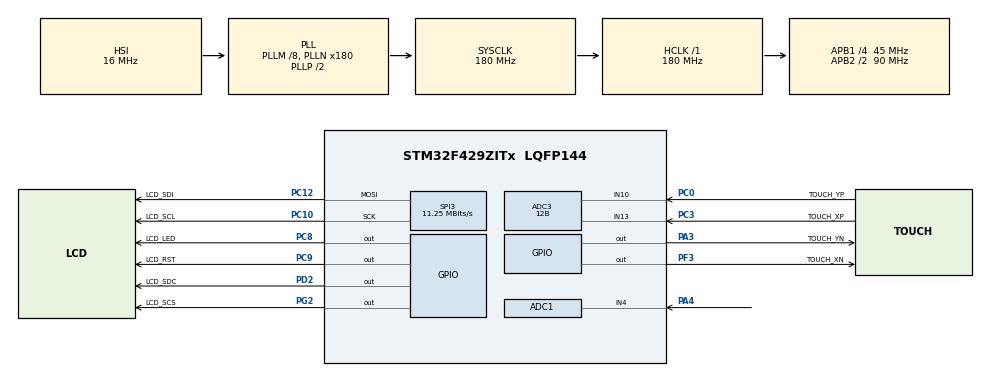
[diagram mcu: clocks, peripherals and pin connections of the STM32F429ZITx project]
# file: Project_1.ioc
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ADC1.Channel-0\#ChannelRegularConversion=ADC_CHANNEL_4
ADC1.ClockPrescaler=ADC_CLOCK_SYNC_PCLK_DIV4
ADC1.ContinuousConvMode=DISABLE
ADC1.DMAContinuousRequests=ENABLE
ADC1.DataAlign=ADC_DATAALIGN_RIGHT
ADC1.DiscontinuousConvMode=DISABLE
ADC1.EOCSelection=ADC_EOC_SINGLE_CONV
ADC1.EnableAnalogWatchDog=false
ADC1.ExternalTrigConv=ADC_SOFTWARE_START
ADC1.ExternalTrigConvEdge=ADC_EXTERNALTRIGCONVEDGE_NONE
ADC1.InjNumberOfConversion=0
ADC1.NbrOfConversion=1
ADC1.NbrOfConversionFlag=1
ADC1.Rank-0\#ChannelRegularConversion=1
ADC1.Resolution=ADC_RESOLUTION_12B
ADC1.SamplingTime-0\#ChannelRegularConversion=ADC_SAMPLETIME_3CYCLES
ADC1.ScanConvMode=DISABLE
ADC1.master=1
ADC3.Channel-0\#ChannelRegularConversion=ADC_CHANNEL_10
ADC3.ClockPrescaler=ADC_CLOCK_SYNC_PCLK_DIV4
ADC3.ContinuousConvMode=DISABLE
ADC3.DMAContinuousRequests=DISABLE
ADC3.DataAlign=ADC_DATAALIGN_RIGHT
ADC3.DiscontinuousConvMode=DISABLE
ADC3.EOCSelection=ADC_EOC_SINGLE_CONV
ADC3.EnableAnalogWatchDog=true
ADC3.ExternalTrigConv=ADC_SOFTWARE_START
ADC3.ExternalTrigConvEdge=ADC_EXTERNALTRIGCONVEDGE_NONE
ADC3.HighThreshold=400
ADC3.ITMode=DISABLE
ADC3.InjNumberOfConversion=0
ADC3.LowThreshold=20
ADC3.NbrOfConversion=1
ADC3.NbrOfConversionFlag=1
ADC3.Rank-0\#ChannelRegularConversion=1
ADC3.Resolution=ADC_RESOLUTION_12B
ADC3.SamplingTime-0\#ChannelRegularConversion=ADC_SAMPLETIME_480CYCLES
ADC3.ScanConvMode=DISABLE
ADC3.WatchdogMode=ADC_ANALOGWATCHDOG_ALL_REG
Dma.ADC1.0.Direction=DMA_PERIPH_TO_MEMORY
Dma.ADC1.0.FIFOMode=DMA_FIFOMODE_DISABLE
Dma.ADC1.0.Instance=DMA2_Stream0
Dma.ADC1.0.MemDataAlignment=DMA_MDATAALIGN_HALFWORD
Dma.ADC1.0.MemInc=DMA_MINC_DISABLE
Dma.ADC1.0.Mode=DMA_NORMAL
Dma.ADC1.0.PeriphDataAlignment=DMA_PDATAALIGN_HALFWORD
Dma.ADC1.0.PeriphInc=DMA_PINC_DISABLE
Dma.ADC1.0.Priority=DMA_PRIORITY_LOW
Dma.Request0=ADC1
FREERTOS.BinarySemaphores01=dataFromADC,Dynamic,NULL
FREERTOS.CountingSemaphores01=myCountingSem01,2,Dynamic,NULL
FREERTOS.INCLUDE_vTaskDelayUntil=1
FREERTOS.MEMORY_ALLOCATION=0
FREERTOS.Mutexes01=myMutex01,Dynamic,NULL
FREERTOS.Queues01=myQueue01,16,uint16_t,0,Dynamic,NULL,NULL
FREERTOS.Tasks01=defaultTask,0,128,StartDefaultTask,Default,NULL,Dynamic,NULL,NULL;myTask02,-3,128,StartTask02,Default,NULL,Dynamic,NULL,NULL;myTask03,-3,128,StartTask03,Default,NULL,Dynamic,NULL,NULL
FREERTOS.Timers01=myTimer01,Callback01,osTimerPeriodic,Default,NULL,Dynamic,NULL
FREERTOS.configUSE_COUNTING_SEMAPHORES=1
FREERTOS.configUSE_TIMERS=1
Mcu.Family=STM32F4
Mcu.Name=STM32F429ZITx
Mcu.Package=LQFP144
NVIC.DMA2_Stream0_IRQn=true\:5\:0\:false\:false\:true\:true\:false
NVIC.PriorityGroup=NVIC_PRIORITYGROUP_4
NVIC.TIM6_DAC_IRQn=true\:5\:0\:false\:true\:true\:1\:true\:true
NVIC.TIM7_IRQn=true\:5\:0\:false\:true\:true\:2\:true\:true
NVIC.TIM8_TRG_COM_TIM14_IRQn=true\:0\:0\:false\:false\:true\:false\:false
NVIC.TimeBase=TIM8_TRG_COM_TIM14_IRQn
NVIC.TimeBaseIP=TIM14
PA3.GPIO_Label=TOUCH_YN
PA3.GPIO_ModeDefaultOutputPP=GPIO_MODE_OUTPUT_PP
PA3.GPIO_PuPd=GPIO_NOPULL
PA3.GPIO_Speed=GPIO_SPEED_FREQ_LOW
PA3.PinState=GPIO_PIN_RESET
PA3.Signal=GPIO_Output
PA4.Signal=ADCx_IN4
PC0.GPIO_Label=TOUCH_YP
PC0.GPIO_Mode=GPIO_MODE_ANALOG
PC0.GPIO_PuPd=GPIO_NOPULL
PC0.Signal=ADCx_IN10
PC10.GPIO_Label=LCD_SCL
PC10.GPIO_Mode=GPIO_MODE_AF_PP
PC10.GPIO_PuPd=GPIO_NOPULL
PC10.GPIO_Speed=GPIO_SPEED_FREQ_VERY_HIGH
PC10.Mode=TX_Only_Simplex_Unidirect_Master
PC10.Signal=SPI3_SCK
PC12.GPIO_Label=LCD_SDI
PC12.GPIO_Mode=GPIO_MODE_AF_PP
PC12.GPIO_PuPd=GPIO_NOPULL
PC12.GPIO_Speed=GPIO_SPEED_FREQ_VERY_HIGH
PC12.Mode=TX_Only_Simplex_Unidirect_Master
PC12.Signal=SPI3_MOSI
PC14/OSC32_IN.Mode=LSE-External-Oscillator
PC14/OSC32_IN.Signal=RCC_OSC32_IN
PC15/OSC32_OUT.Mode=LSE-External-Oscillator
PC15/OSC32_OUT.Signal=RCC_OSC32_OUT
PC3.GPIO_Label=TOUCH_XP
PC3.GPIO_Mode=GPIO_MODE_ANALOG
PC3.GPIO_PuPd=GPIO_NOPULL
PC3.Signal=ADCx_IN13
PC8.GPIO_Label=LCD_LED
PC8.GPIO_ModeDefaultOutputPP=GPIO_MODE_OUTPUT_PP
PC8.GPIO_PuPd=GPIO_NOPULL
PC8.GPIO_Speed=GPIO_SPEED_FREQ_LOW
PC8.PinState=GPIO_PIN_RESET
PC8.Signal=GPIO_Output
PC9.GPIO_Label=LCD_RST
PC9.GPIO_ModeDefaultOutputPP=GPIO_MODE_OUTPUT_PP
PC9.GPIO_PuPd=GPIO_NOPULL
PC9.GPIO_Speed=GPIO_SPEED_FREQ_LOW
PC9.PinState=GPIO_PIN_RESET
PC9.Signal=GPIO_Output
PD2.GPIO_Label=LCD_SDC
PD2.GPIO_ModeDefaultOutputPP=GPIO_MODE_OUTPUT_PP
PD2.GPIO_PuPd=GPIO_NOPULL
PD2.GPIO_Speed=GPIO_SPEED_FREQ_LOW
PD2.PinState=GPIO_PIN_RESET
PD2.Signal=GPIO_Output
PF3.GPIO_Label=TOUCH_XN
PF3.GPIO_ModeDefaultOutputPP=GPIO_MODE_OUTPUT_PP
PF3.GPIO_PuPd=GPIO_NOPULL
PF3.GPIO_Speed=GPIO_SPEED_FREQ_LOW
PF3.PinState=GPIO_PIN_RESET
PF3.Signal=GPIO_Output
PG2.GPIO_Label=LCD_SCS
PG2.GPIO_ModeDefaultOutputPP=GPIO_MODE_OUTPUT_PP
PG2.GPIO_PuPd=GPIO_NOPULL
PG2.GPIO_Speed=GPIO_SPEED_FREQ_LOW
PG2.PinState=GPIO_PIN_RESET
PG2.Signal=GPIO_Output
PH0/OSC_IN.Mode=HSE-External-Clock-Source
PH0/OSC_IN.Signal=RCC_OSC_IN
PH1/OSC_OUT.Mode=HSE-External-Clock-Source
PH1/OSC_OUT.Signal=RCC_OSC_OUT
ProjectManager.HeapSize=0x200
ProjectManager.StackSize=0x400
ProjectManager.TargetToolchain=TrueSTUDIO
RCC.48MHZClocksFreq_Value=90000000
RCC.AHBFreq_Value=180000000
RCC.APB1CLKDivider=RCC_HCLK_DIV4
RCC.APB1Freq_Value=45000000
RCC.APB1TimFreq_Value=90000000
RCC.APB2CLKDivider=RCC_HCLK_DIV2
RCC.APB2Freq_Value=90000000
RCC.APB2TimFreq_Value=180000000
RCC.CortexFreq_Value=180000000
RCC.HCLKFreq_Value=180000000
RCC.HSE_VALUE=25000000
RCC.HSI_VALUE=16000000
RCC.PLLM=8
RCC.PLLN=180
RCC.SYSCLKFreq_VALUE=180000000
RCC.SYSCLKSource=RCC_SYSCLKSOURCE_PLLCLK
RCC.VCOOutputFreq_Value=360000000
SH.ADCx_IN10.0=ADC3_IN10,IN10
SH.ADCx_IN13.0=ADC3_IN13,IN13
SH.ADCx_IN4.0=ADC1_IN4,IN4
SPI3.BaudRatePrescaler=SPI_BAUDRATEPRESCALER_4
SPI3.CLKPolarity=SPI_POLARITY_LOW
SPI3.CalculateBaudRate=11.25 MBits/s
SPI3.Direction=SPI_DIRECTION_2LINES
SPI3.Mode=SPI_MODE_MASTER
SPI3.VirtualType=VM_MASTER
TIM6.Period=100
TIM6.Prescaler=8400
TIM6.TIM_MasterOutputTrigger=TIM_TRGO_UPDATE
TIM7.Period=1000
TIM7.Prescaler=8400
TIM7.TIM_MasterOutputTrigger=TIM_TRGO_UPDATE
VP_CRC_VS_CRC.Mode=CRC_Activate
VP_FREERTOS_VS_ENABLE.Mode=Enabled
VP_SYS_VS_tim14.Mode=TIM14
VP_TIM6_VS_ClockSourceINT.Mode=Enable_Timer
VP_TIM7_VS_ClockSourceINT.Mode=Enable_Timer
board=Project_1

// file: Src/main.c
/**
  ******************************************************************************
  * File Name          : main.c
  * Description        : Main program body
  ******************************************************************************
  * This notice applies to any and all portions of this file
  * that are not between comment pairs USER CODE BEGIN and
  * USER CODE END. Other portions of this file, whether
  * inserted by the user or by software development tools
  * are owned by their respective copyright owners.
  *
  * Copyright (c) 2018 STMicroelectronics International N.V.
  * All rights reserved.
  *
  * Redistribution and use in source and binary forms, with or without
  * modification, are permitted, provided that the following conditions are met:
  *
  * 1. Redistribution of source code must retain the above copyright notice,
  *    this list of conditions and the following disclaimer.
  * 2. Redistributions in binary form must reproduce the above copyright notice,
  *    this list of conditions and the following disclaimer in the documentation
  *    and/or other materials provided with the distribution.
  * 3. Neither the name of STMicroelectronics nor the names of other
  *    contributors to this software may be used to endorse or promote products
  *    derived from this software without specific written permission.
  * 4. This software, including modifications and/or derivative works of this
  *    software, must execute solely and exclusively on microcontroller or
  *    microprocessor devices manufactured by or for STMicroelectronics.
  * 5. Redistribution and use of this software other than as permitted under
  *    this license is void and will automatically terminate your rights under
  *    this license.
  *
  * THIS SOFTWARE IS PROVIDED BY STMICROELECTRONICS AND CONTRIBUTORS "AS IS"
  * AND ANY EXPRESS, IMPLIED OR STATUTORY WARRANTIES, INCLUDING, BUT NOT
  * LIMITED TO, THE IMPLIED WARRANTIES OF MERCHANTABILITY, FITNESS FOR A
  * PARTICULAR PURPOSE AND NON-INFRINGEMENT OF THIRD PARTY INTELLECTUAL PROPERTY
  * RIGHTS ARE DISCLAIMED TO THE FULLEST EXTENT PERMITTED BY LAW. IN NO EVENT
  * SHALL STMICROELECTRONICS OR CONTRIBUTORS BE LIABLE FOR ANY DIRECT, INDIRECT,
  * INCIDENTAL, SPECIAL, EXEMPLARY, OR CONSEQUENTIAL DAMAGES (INCLUDING, BUT NOT
  * LIMITED TO, PROCUREMENT OF SUBSTITUTE GOODS OR SERVICES; LOSS OF USE, DATA,
  * OR PROFITS; OR BUSINESS INTERRUPTION) HOWEVER CAUSED AND ON ANY THEORY OF
  * LIABILITY, WHETHER IN CONTRACT, STRICT LIABILITY, OR TORT (INCLUDING
  * NEGLIGENCE OR OTHERWISE) ARISING IN ANY WAY OUT OF THE USE OF THIS SOFTWARE,
  * EVEN IF ADVISED OF THE POSSIBILITY OF SUCH DAMAGE.
  *
  ******************************************************************************
  */

#include "main.h"
#include "stm32f4xx_hal.h"
#include "cmsis_os.h"
#include "adc.h"
#include "crc.h"
#include "dma.h"
#include "spi.h"
#include "tim.h"
#include "gpio.h"

/* USER CODE BEGIN Includes */
#include <stdbool.h>
#include <Global.h>
#include <time.h>
#include "stm32f4xx_nucleo_144.h"
#include "Kentec_SSD2119.h"
#include "GUI.h"
#include "GRAPH.h"
#include "PROGBAR.h"
#include "SLIDER.h"
#include "DIALOG.h"
#include "TIMER_Wrapper.h"
#include "UART_Wrapper.h"
#include "SYS.h"

#ifdef DEBUG_TOUCH
/* Recommended memory to run the sample with adequate performance */
#define RECOMMENDED_MEMORY (1024L * 10)
GUI_PID_STATE TouchState;
int	xPhys, xSize;
int	yPhys, ySize;
#define NUM_CALIB_POINTS  5  // Number of points for reference
#endif

#ifdef DEBUG_CAL
#define NUM_CALIB_POINTS  5  // Number of points for calibration
#endif

/* USER CODE END Includes */

/* USER CODE BEGIN PV */
extern osSemaphoreId myBinarySem01Handle;
extern osThreadId defaultTaskHandle;
extern osThreadId myTask02Handle;
extern osThreadId myTask03Handle;

#ifdef DEBUG_WIN
extern WM_HWIN CreateProjeto_1();
extern WM_HWIN hTimeStr;
extern WM_HWIN hAdcStr;
extern WM_HWIN hTempStr;
extern WM_HWIN hGraph;
GRAPH_DATA_Handle hData;
#endif

/* Private variables ---------------------------------------------------------*/
static volatile unsigned int _Continue;

#ifdef DEBUG_TOUCH
static int _aRefX[NUM_CALIB_POINTS];
static int _aRefY[NUM_CALIB_POINTS];
static int _aSamX[NUM_CALIB_POINTS];
static int _aSamY[NUM_CALIB_POINTS];
#endif

#ifdef DEBUG_CAL
static int _aRefX[NUM_CALIB_POINTS];
static int _aRefY[NUM_CALIB_POINTS];
static int _aSamX[NUM_CALIB_POINTS];
static int _aSamY[NUM_CALIB_POINTS];
#endif

PROGBAR_Handle hProgBar;
SLIDER_Handle hSlider;
uint32_t value = 0;
uint32_t beacon = 0;

/* Definition of Run Time Statistics (RTS) timer */
TIM_HandleTypeDef timerRTS;

/* USER CODE END PV */

void SystemClock_Config(void);
void MX_FREERTOS_Init(void);
static void MX_NVIC_Init(void);

/* USER CODE BEGIN PFP */
/* Private function prototypes -----------------------------------------------*/
#ifdef DEBUG_CAL
static void _Calibrate(void);
#endif
/* USER CODE END PFP */

int main(void)
{

  /* USER CODE BEGIN 1 */
  uint32_t clock = 0;
//  RCC_OscInitTypeDef Osc;
//  RCC_ClkInitTypeDef Clk;
  /* USER CODE END 1 */

  /* MCU Configuration----------------------------------------------------------*/

  /* USER CODE BEGIN Init */
  SYS_Init();
  SYS_ClockSet(SYS_CLOCK_168_MHZ_EXT);
  /* USER CODE END Init */

  /* USER CODE BEGIN SysInit */
  clock = HAL_RCC_GetSysClockFreq();
  clock = HAL_RCC_GetHCLKFreq();
  clock = HAL_RCC_GetPCLK1Freq();
  clock = HAL_RCC_GetPCLK2Freq();
  clock = clock;
//  HAL_RCC_GetOscConfig(&Osc);
//  HAL_RCC_GetClockConfig(&Clk, FLASH_LATENCY_5);

  BSP_LED_Init(LED1);
  BSP_LED_Init(LED2);
  BSP_LED_Init(LED3);
  /* USER CODE END SysInit */

  /* Initialize all configured peripherals */
  MX_GPIO_Init();
  MX_DMA_Init();
  MX_ADC1_Init();
  MX_TIM7_Init();
  MX_CRC_Init();
  MX_SPI3_Init();
  MX_ADC3_Init();
  MX_TIM6_Init();

  /* Initialize interrupts */
  MX_NVIC_Init();

  /* USER CODE BEGIN 2 */
#ifdef DEBUG_LCD
  uint32_t i;

  /* LCD Test */
  LCD_Init();

  LCD_WriteReg(SSD2119_X_RAM_ADDR_REG);
  LCD_WriteData(0);
  LCD_WriteReg(SSD2119_Y_RAM_ADDR_REG);
  LCD_WriteData(0);

  uint16_t pixels[] = {0x00F8, 0x00F8, 0x00F8,
		               0x00F8, 0x00F8, 0x00F8,
					   0x00F8, 0x00F8, 0x00F8,
		  	  	  	   0xF800, 0xF800, 0xF800,
					   0xF800, 0xF800, 0xF800,
					   0xF800, 0xF800, 0xF800,
					   0x0FE0, 0x0FE0, 0x0FE0,
  	  	  	  	  	   0x0FE0, 0x0FE0, 0x0FE0,
  	  	  	  	  	   0x0FE0, 0x0FE0, 0x0FE0};

  LCD_WriteReg(SSD2119_RAM_DATA_REG);
  for (i = 0; i < (76800/27) ; i++)
  {
	  LCD_WriteDataMultiple(pixels, 27);
  }

//  LCD_WriteReg(SSD2119_RAM_DATA_REG);
//  for(i = 0; i < 320*240 ; i++)
//  {
//      LCD_WriteData(0x00F8);
//  }
#endif

//#ifdef DEBUG_WIN
//  GUI_Init();
//  GUI_SetBkColor(GUI_WHITE);
//  GUI_SetColor(GUI_RED);
//  CreateProjeto_1();
////  CreateTest1();
////  CreateBigDialog();
////  CreateTest();
////  hAdjust = CreateAdjust();
////  hClock = CreateClock();
////  hAnalog = CreateAnalog();
//#endif

#ifdef DEBUG_GUI
  /* Init STemWin Graphic Library */
  GUI_Init();

//  GUI_SetTextMode(GUI_TEXTMODE_TRANS);
//  GUI_SetBkColor(GUI_BLACK);
//  GUI_SetColor(GUI_YELLOW);

//  GUI_SetFont(GUI_FONT_6X8);
//  GUI_DispStringAt("FONT_6X8..ABC0123", 10, 10);
//  GUI_SetFont(GUI_FONT_10_ASCII);
//  GUI_DispStringAt("FONT_10_ASCII..ABC0123", 10, 30);
//  GUI_SetFont(GUI_FONT_10S_ASCII);
//  GUI_DispStringAt("FONT_10S_ASCII..ABC0123", 10, 50);
//  GUI_SetFont(GUI_FONT_10_1);
//  GUI_DispStringAt("FONT_10_1..ABC0123", 10, 65);
//  GUI_SetFont(GUI_FONT_20F_ASCII);
//  GUI_DispStringAt("FONT_20F_ASCII..ABC0123", 10, 85);
//  GUI_SetFont(GUI_FONT_D32);
//  GUI_DispStringAt("32..+-", 10, 110);
//  GUI_SetFont(GUI_FONT_24_ASCII);
//  GUI_DispStringAt("GUI_FONT_24_ASCII", 10, 140);
//  GUI_SetFont(GUI_FONT_COMIC18B_ASCII);
//  GUI_DispStringAt("FONT_COMIC18B_ASCII..<>{}!@#$%&*", 10, 160);
//  GUI_SetFont(GUI_FONT_COMIC24B_ASCII);
//  GUI_DispStringAt("FONT_COMIC24B_ASCIIB..<>{}!@#$%&*", 10, 180);
//  GUI_SetFont(GUI_FONT_8X16X3X3);
//  GUI_DispStringAt("FONT_8X16X3X3..<>{}!@#$%&*", 10, 200);

//  GUI_FillRect(160, 10, 310, 60);
//  GUI_DrawLine(160, 68, 310, 78);

//  GUI_AA_SetDrawMode(GUI_AA_TRANS);
//  GUI_AA_EnableHiRes();
//  GUI_AA_SetFactor(5);
//  GUI_AA_DrawLine(160, 65, 310, 68);

  hProgBar = PROGBAR_Create(50, 190, 200, 25, WM_CF_SHOW);
  PROGBAR_SetBarColor(hProgBar, 0, GUI_GREEN);
  PROGBAR_SetBarColor(hProgBar, 1, GUI_RED);
//  PROGBAR_SetSkinClassic(hProgBar);

  hSlider = SLIDER_CreateEx(50, 20, 200, 25, WM_HBKWIN, WM_CF_SHOW, 0, GUI_ID_SLIDER0);
  SLIDER_SetBkColor(hSlider, GUI_RED);
//  SLIDER_SetSkinClassic(hSlider);

  GUI_SetBkColor(GUI_BLUE);
  GUI_SetColor(GUI_YELLOW);
  GUI_Clear();
  GUI_SetFont(GUI_FONT_8X16X2X2);

//  GUI_SetFont(GUI_FONT_32B_ASCII);
//  GUI_SetBkColor(GUI_BLUE);
//  GUI_Clear();
//  GUI_DrawLine(0, 0, 319, 239);

//  GUI_SetFont(&GUI_Font8x16);
//  GUI_SetBkColor(GUI_BLUE);
//  GUI_Clear();
//  GUI_SetPenSize(10);
//  GUI_SetColor(GUI_RED);
//  GUI_DrawLine(80, 10, 240, 90);
//  GUI_DrawLine(80, 90, 240, 10);
//  GUI_SetBkColor(GUI_BLACK);
//  GUI_SetColor(GUI_WHITE);
//  GUI_SetTextMode(GUI_TM_NORMAL);
//  GUI_DispStringHCenterAt("GUI_TM_NORMAL" , 160, 10);
//  GUI_SetTextMode(GUI_TM_REV);
//  GUI_DispStringHCenterAt("GUI_TM_REV" , 160, 26);
//  GUI_SetTextMode(GUI_TM_TRANS);
//  GUI_DispStringHCenterAt("GUI_TM_TRANS" , 160, 42);
//  GUI_SetTextMode(GUI_TM_XOR);
//  GUI_DispStringHCenterAt("GUI_TM_XOR" , 160, 58);
//  GUI_SetTextMode(GUI_TM_TRANS | GUI_TM_REV);
//  GUI_DispStringHCenterAt("GUI_TM_TRANS | GUI_TM_REV", 160, 74);
#endif

#ifdef DEBUG_ALIAS
  GUI_Init();

  GUI_SetFont(GUI_FONT_COMIC18B_ASCII);
  GUI_SetBkColor(GUI_BLACK);
  GUI_SetColor(GUI_WHITE);
  GUI_Clear();
  GUI_AA_SetFactor(4);
  GUI_DispStringHCenterAt("Anti-Aliasing Text", 160, 20);
  GUI_AA_DrawLine(160, 65, 310, 68);
  GUI_DrawArc(160, 200, 70, 0, 0, 180);
  GUI_AA_DrawArc(160, 200, 80, 0, 0, 180);
  GUI_AA_DrawArc(160, 200, 90, 0, 30, 90);
  GUI_AA_SetFactor(2);
  GUI_AA_DrawLine(165, 70, 315, 73);
  GUI_AA_DrawArc(160, 200, 100, 0, 30, 90);
  GUI_AA_DrawArc(160, 200, 110, 0, 30, 90);
#endif

#ifdef DEBUG_GRAPH
  PROGBAR_SKINFLEX_PROPS props;
  GUI_Init();
  GUI_DispStringAt("Progress bar", 100, 20+150);
  hProgBar = PROGBAR_Create(100, 40+150, 150, 30, WM_CF_SHOW);
  PROGBAR_SetBarColor(hProgBar, 0, GUI_GREEN);
  PROGBAR_SetBarColor(hProgBar, 1, GUI_RED);
  PROGBAR_SetValue(hProgBar, 75);
  PROGBAR_GetSkinFlexProps(&props, 0);
  props.ColorText = GUI_WHITE;
  props.ColorFrame = GUI_BLACK;
  props.aColorUpperL[0] = GUI_WHITE;
  props.aColorUpperL[1] = GUI_RED;
  props.aColorLowerL[0] = GUI_RED;
  props.aColorLowerL[1] = GUI_BLACK;
  PROGBAR_SetSkinFlexProps(&props, 0);

  GRAPH_DATA_Handle hData;
  GRAPH_SCALE_Handle hScale;
  WM_HWIN hGraph;
  I16 aData0[] = {2,3,4,5,3,4,5,2,3,4,3,4,14,12,9,8,6,2,3,4,2,1};

  hGraph = GRAPH_CreateEx(10, 10, 216, 106, WM_HBKWIN, WM_CF_SHOW, 0, GUI_ID_GRAPH0);
  hData = GRAPH_DATA_YT_Create(GUI_DARKGREEN, 16, aData0, 16);
  GRAPH_AttachData(hGraph, hData);
  hScale = GRAPH_SCALE_Create(28, GUI_TA_RIGHT, GRAPH_SCALE_CF_VERTICAL, 20);
  GRAPH_AttachScale(hGraph, hScale);

  GUI_Exec();

  /*
  Do something with the widget...
  */
//  WM_DeleteWindow(hGraph);
#endif

#ifdef DEBUG_TOUCH
//  GUI_PID_STATE TouchState;
//  int	xPhys, xSize;
//  int	yPhys, ySize;
//  int	i;
//
//  GUI_Init();
//  //
//  // Check if recommended memory for the sample is available
//  //
//  if (GUI_ALLOC_GetNumFreeBytes() < RECOMMENDED_MEMORY)
//  {
//    GUI_ErrorOut("Not enough memory available.");
//    return -1;
//  }
//  GUI_CURSOR_Show();
//  GUI_CURSOR_Select(&GUI_CursorCrossL);
//  GUI_SetBkColor(GUI_WHITE);
//  GUI_SetColor(GUI_BLUE);
//  GUI_SetPenSize(1);
//  GUI_Clear();
//
//  xSize = LCD_GetXSize();
//  ySize = LCD_GetYSize();
//
//  //
//  // Calculate reference points depending on LCD size
//  //
//  _aRefX[0] = (xSize * 5) / 100;
//  _aRefY[0] = (ySize * 5) / 100;
//  _aRefX[1] = xSize - (xSize * 5) / 100;
//  _aRefY[1] = _aRefY[0];
//  _aRefX[2] = _aRefX[1];
//  _aRefY[2] = ySize - (ySize * 5) / 100;
//  _aRefX[3] = _aRefX[0];
//  _aRefY[3] = _aRefY[2];
//  _aRefX[4] = xSize / 2;
//  _aRefY[4] = ySize / 2;
//  //
//  // Draw reference points on LCD
//  //
//  for (i = 0; i < NUM_CALIB_POINTS; i++)
//  {
//    GUI_DrawCircle(_aRefX[i], _aRefY[i], 5);
//  }
#endif

#ifdef DEBUG_CAL
  GUI_Init();
  //
  // Calibrate touch ...
  //
  _Calibrate();
  //
  // ... and play with it
  //
  GUI_CURSOR_Show();
  BUTTON_Create(100, 100, 200, 50, 1234, WM_CF_SHOW);  // A button to be touched
#endif

  GUI_Init();

  /*
   * IMPORTANTE!
   * ----------
   * Dispare os Timers que geram interrupções somente após a inicialização do RTOS.
   * Como isso implica em escrever fora da área de código do usuário, lembre-se de
   * reescrever este código após cada atualização do projeto via CubeMX:
   *
   *  HAL_TIM_Base_Start_IT(&htim6);
   *  HAL_TIM_Base_Start_IT(&htim7);
   */

  /* USER CODE END 2 */

  /* Call init function for freertos objects (in freertos.c) */
  MX_FREERTOS_Init();

  /* Runs Timer 6 to trigger interrupts */
//  HAL_TIM_Base_Start_IT(&htim6);

  /* Runs Timer 7 to trigger interrupts */
  HAL_TIM_Base_Start_IT(&htim7);

  /* Start scheduler */
  osKernelStart();

  /* We should never get here as control is now taken by the scheduler */

  /* Infinite loop */
  /* USER CODE BEGIN WHILE */
  while (1)
  {
#ifdef DEBUG_TOUCH
	 GUI_TOUCH_GetState(&TouchState);  // Get the touch position in pixel
	 xPhys = GUI_TOUCH_GetxPhys();     // Get the A/D mesurement result in x
	 yPhys = GUI_TOUCH_GetyPhys();     // Get the A/D mesurement result in y
	 //
	 // Display the measurement result
	 //
	 GUI_SetColor(GUI_BLUE);
	 GUI_DispStringAt("Analog input:\n", 0, 40);
	 GUI_GotoY(GUI_GetDispPosY() + 2);
	 GUI_DispString("x:");
	 GUI_DispDec(xPhys, 4);
	 GUI_DispString(", y:");
	 GUI_DispDec(yPhys, 4);
	 //
	 // Display the according position
	 //
	 GUI_SetColor(GUI_RED);
	 GUI_GotoY(GUI_GetDispPosY() + 4);
	 GUI_DispString("\nPosition:\n");
	 GUI_GotoY(GUI_GetDispPosY() + 2);
	 GUI_DispString("x:");
	 GUI_DispDec(TouchState.x,4);
	 GUI_DispString(", y:");
	 GUI_DispDec(TouchState.y,4);
	 /*
	  * Draw pixel path
	  */
	 GUI_SetColor(GUI_BLACK);
//	 GUI_DrawPixel(TouchState.x, TouchState.y);
//	 GUI_DrawPoint(TouchState.x, TouchState.y);
	 GUI_DrawLineTo(TouchState.x, TouchState.y);
//	 GUI_DrawLineRel(TouchState.x, TouchState.y);
	 //
	 // Wait a while
	 //
	 GUI_Delay(1);
//	 HAL_Delay(100);
//	 GUI_Exec();
#endif

#ifdef DEBUG_CAL
	 GUI_Delay(100);
//	 HAL_Delay(100);
	 GUI_Exec();
#endif

  /* USER CODE END WHILE */

  }

}

/** System Clock Configuration
*/
void SystemClock_Config(void)
{

  RCC_OscInitTypeDef RCC_OscInitStruct;
  RCC_ClkInitTypeDef RCC_ClkInitStruct;

    /**Configure the main internal regulator output voltage
    */
  __HAL_RCC_PWR_CLK_ENABLE();

  __HAL_PWR_VOLTAGESCALING_CONFIG(PWR_REGULATOR_VOLTAGE_SCALE1);

    /**Initializes the CPU, AHB and APB busses clocks
    */
  RCC_OscInitStruct.OscillatorType = RCC_OSCILLATORTYPE_HSI;
  RCC_OscInitStruct.HSIState = RCC_HSI_ON;
  RCC_OscInitStruct.HSICalibrationValue = 16;
  RCC_OscInitStruct.PLL.PLLState = RCC_PLL_ON;
  RCC_OscInitStruct.PLL.PLLSource = RCC_PLLSOURCE_HSI;
  RCC_OscInitStruct.PLL.PLLM = 8;
  RCC_OscInitStruct.PLL.PLLN = 180;
  RCC_OscInitStruct.PLL.PLLP = RCC_PLLP_DIV2;
  RCC_OscInitStruct.PLL.PLLQ = 4;
  if (HAL_RCC_OscConfig(&RCC_OscInitStruct) != HAL_OK)
  {
    _Error_Handler(__FILE__, __LINE__);
  }

    /**Activate the Over-Drive mode
    */
  if (HAL_PWREx_EnableOverDrive() != HAL_OK)
  {
    _Error_Handler(__FILE__, __LINE__);
  }

    /**Initializes the CPU, AHB and APB busses clocks
    */
  RCC_ClkInitStruct.ClockType = RCC_CLOCKTYPE_HCLK|RCC_CLOCKTYPE_SYSCLK
                              |RCC_CLOCKTYPE_PCLK1|RCC_CLOCKTYPE_PCLK2;
  RCC_ClkInitStruct.SYSCLKSource = RCC_SYSCLKSOURCE_PLLCLK;
  RCC_ClkInitStruct.AHBCLKDivider = RCC_SYSCLK_DIV1;
  RCC_ClkInitStruct.APB1CLKDivider = RCC_HCLK_DIV4;
  RCC_ClkInitStruct.APB2CLKDivider = RCC_HCLK_DIV2;

  if (HAL_RCC_ClockConfig(&RCC_ClkInitStruct, FLASH_LATENCY_5) != HAL_OK)
  {
    _Error_Handler(__FILE__, __LINE__);
  }

    /**Configure the Systick interrupt time
    */
  HAL_SYSTICK_Config(HAL_RCC_GetHCLKFreq()/1000);

    /**Configure the Systick
    */
  HAL_SYSTICK_CLKSourceConfig(SYSTICK_CLKSOURCE_HCLK);

  /* SysTick_IRQn interrupt configuration */
  HAL_NVIC_SetPriority(SysTick_IRQn, 15, 0);
}

/** NVIC Configuration
*/
static void MX_NVIC_Init(void)
{
  /* TIM6_DAC_IRQn interrupt configuration */
  HAL_NVIC_SetPriority(TIM6_DAC_IRQn, 6, 0);
  HAL_NVIC_EnableIRQ(TIM6_DAC_IRQn);
  /* TIM7_IRQn interrupt configuration */
  HAL_NVIC_SetPriority(TIM7_IRQn, 5, 0);
  HAL_NVIC_EnableIRQ(TIM7_IRQn);
}

/* USER CODE BEGIN 4 */

#ifdef DEBUG_CAL
/*********************************************************************
*
*       _Calibrate
*
* Purpose:
*   Calibrates the touch screen. Please note that this sample assumes
*   that the 'Driver API for analog touch screens' is used.
*/
static void _Calibrate(void) {
  GUI_PID_STATE State;
  int i;
  int xSize, ySize;

  xSize = LCD_GetXSize();
  ySize = LCD_GetYSize();
  //
  // Calculate reference points depending on LCD size
  //
  _aRefX[0] = (xSize * 5) / 100;
  _aRefY[0] = (ySize * 5) / 100;
  _aRefX[1] = xSize - (xSize * 5) / 100;
  _aRefY[1] = _aRefY[0];
  _aRefX[2] = _aRefX[1];
  _aRefY[2] = ySize - (ySize * 5) / 100;
  _aRefX[3] = _aRefX[0];
  _aRefY[3] = _aRefY[2];
  _aRefX[4] = xSize / 2;
  _aRefY[4] = ySize / 2;
  //
  // Draw reference points on LCD
  //
  GUI_TOUCH_GetState(&State);
  State.Pressed = 0;
  GUI_SetPenSize(3);
  for (i = 0; i < NUM_CALIB_POINTS; i++)
  {
    GUI_Clear();
    GUI_DispStringHCenterAt("Please touch the point", LCD_GetXSize() / 2, LCD_GetYSize() / 2 - 60);
    GUI_DrawCircle(_aRefX[i], _aRefY[i], 5);
    while (State.Pressed != 1)
    {
      GUI_Delay(250);
      GUI_TOUCH_GetState(&State);
    }
    if (State.Pressed == 1) {
      //
      // Store sample points
      //
      _aSamX[i] = GUI_TOUCH_GetxPhys();
      _aSamY[i] = GUI_TOUCH_GetyPhys();
    }
    State.Pressed = 0;
    GUI_Delay(250);
  }
  //
  // Pass measured points to emWin
  //
  GUI_TOUCH_CalcCoefficients(NUM_CALIB_POINTS, _aRefX, _aRefY, _aSamX, _aSamY, xSize, ySize);
}
#endif
/*
 * Teste de interrupcao
 */
void HAL_TIM_PeriodElapsedCallback(TIM_HandleTypeDef *htim)
{
	osStatus status;
	int32_t signal;

	/*
	 * This function is called  when TIM14 interrupt took place, inside
	 * HAL_TIM_IRQHandler(). It makes a direct call to HAL_IncTick() to increment
	 * a global variable "uwTick" used as application time base.
	 */
	if (htim->Instance == TIM14)
	{
		HAL_IncTick();
	}
	  /*
	 * Touch Screen ISR code (executes at 100Hz)
	 */
	if (htim == &htim6)
	{
//#ifdef DEBUG_WIN
//		GUI_TOUCH_Exec();
//#endif
//		signal = osSignalSet(myTask03Handle, 5);
	}
	/*
	 * Application ISR code (executes at 10Hz)
	 */
	if (htim == &htim7)
	{
		/*
		 * Libera semáforo em DefaultTask.
		 */
//		status = osSemaphoreRelease(myBinarySem01Handle);
		signal = osSignalSet(defaultTaskHandle, 5);
//		BSP_LED_Toggle(LED1);

//		beacon ^= 1;
//
//		BSP_LED_Toggle(LED2);
//		/* ADC conversion started with DMA transfer */
//		HAL_ADC_Start_DMA(&hadc1, &value, 1);

//		HAL_ADC_Start(&hadc1);
//		/* Waits for ADC conversion or 50 ms timeout */
//		if (HAL_ADC_PollForConversion(&hadc1, 50) == HAL_OK)
//		{
//			value = HAL_ADC_GetValue(&hadc1);
//		}

//#ifdef DEBUG_WIN
//		char str[15];
//
////		GUI_DispDecAt(value, 15, 10, 4);
////		GUI_DispStringAt("0000", 60, 10);
//
//		sprintf(str, "%04d", (int)value);
//		TEXT_SetText(hAdcStr, str);
//		TEXT_SetText(hTempStr, "25ºC");
//
////		struct tm* st = localtime((time_t*)&value);
////		sprintf(str, "%02d:%02d:%02d.%1d ", st->tm_hour,
////										    st->tm_min,
////										    st->tm_sec,
////										    (int)value);
//		TEXT_SetText(hTimeStr, "00:00:00.0");
//
////	    TEXT_SetText(hTimeStr, str);
////		PROGBAR_SetValue(hProgbar, value);
////	    SLIDER_SetValue(hSlider, value);
//
//		GUI_Exec();
//#endif

#ifdef DEBUG_LCD
		BSP_LED_Toggle(LED1);
#endif

#ifdef DEBUG_GUI
		GUI_DispDecAt(value, 100, 100, 4);
		GUI_DispString("°C");
		int bar = (int32_t)((value*10)/409);
		PROGBAR_SetValue(hProgBar, bar);
		SLIDER_SetValue(hSlider, bar);
//		WM_Exec();
		GUI_Exec();
		BSP_LED_Toggle(LED3);
#endif

#ifdef DEBUG_GRAPH
		int bar = (int32_t)((value*10)/409);
		PROGBAR_SetValue(hProgBar, bar);
		GUI_Exec();
		BSP_LED_Toggle(LED3);
#endif
	//  beacon ^= 1;
	//  BSP_LED_Toggle(LED1);
	}
}
/**
* @brief This function handles Hard fault interrupt.
*/
//void HardFault_Handler(void) {
//_Continue = 0u;
////
//// When stuck here, change the variable value to != 0 in order to step out
////
//while (_Continue == 0u);
//}

/**
 *  This function configures a timer that is used as the time base when
 *  collecting run time statistical information - basically the percentage
 *  of CPU time that each task is utilizing.  It is called automatically when
 *  the scheduler is started (assuming configGENERATE_RUN_TIME_STATS is set
 *  to 1).
 */
void configureTimerForRunTimeStats()
{
//	/* Configures 32-bit Timer 5 as a 20kHz time base */
//	timerRTS.Instance = TIM5;
//	timerRTS.Init.Prescaler = HAL_RCC_GetPCLK1Freq() / 20000 + 1;
//	timerRTS.Init.CounterMode = TIM_COUNTERMODE_UP;
//	timerRTS.Init.Period = 0;
//	if (HAL_TIM_Base_Init(&timerRTS) != HAL_OK)
//	{
//		_Error_Handler(__FILE__, __LINE__);
//	}
//
//	/* Enables clock to timer */
//	__HAL_RCC_TIM5_CLK_ENABLE();
//
//    /* Run timer */
//    HAL_TIM_Base_Start(&timerRTS);

	/* Configures 32-bit Timer 5 as a 20kHz time base */
	TIMER_Init(TIMER_5);
	TIMER_Config(TIMER_5, TIMER_PERIODIC_UP);
	TIMER_ConfigPrescaler(TIMER_5, 20000);
	/* Run timer */
	TIMER_Enable(TIMER_5);
}
/**
 * Simply returns the current timer counter value
 * used for the run-time statistics time base.
 */
uint32_t getRunTimeCounterValue()
{
	/* Returns the counter register */
//	return timerRTS.Instance->CNT;
	return TIMER_GetCount(TIMER_5);
}

/* USER CODE END 4 */

void _Error_Handler(char * file, int line)
{
  while(1)
  {
  }
}

/************************ (C) COPYRIGHT STMicroelectronics *****END OF FILE****/

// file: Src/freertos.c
/**
  ******************************************************************************
  * File Name          : freertos.c
  * Description        : Code for freertos applications
  ******************************************************************************
  * This notice applies to any and all portions of this file
  * that are not between comment pairs USER CODE BEGIN and
  * USER CODE END. Other portions of this file, whether
  * inserted by the user or by software development tools
  * are owned by their respective copyright owners.
  *
  * Copyright (c) 2018 STMicroelectronics International N.V.
  * All rights reserved.
  *
  * Redistribution and use in source and binary forms, with or without
  * modification, are permitted, provided that the following conditions are met:
  *
  * 1. Redistribution of source code must retain the above copyright notice,
  *    this list of conditions and the following disclaimer.
  * 2. Redistributions in binary form must reproduce the above copyright notice,
  *    this list of conditions and the following disclaimer in the documentation
  *    and/or other materials provided with the distribution.
  * 3. Neither the name of STMicroelectronics nor the names of other
  *    contributors to this software may be used to endorse or promote products
  *    derived from this software without specific written permission.
  * 4. This software, including modifications and/or derivative works of this
  *    software, must execute solely and exclusively on microcontroller or
  *    microprocessor devices manufactured by or for STMicroelectronics.
  * 5. Redistribution and use of this software other than as permitted under
  *    this license is void and will automatically terminate your rights under
  *    this license.
  *
  * THIS SOFTWARE IS PROVIDED BY STMICROELECTRONICS AND CONTRIBUTORS "AS IS"
  * AND ANY EXPRESS, IMPLIED OR STATUTORY WARRANTIES, INCLUDING, BUT NOT
  * LIMITED TO, THE IMPLIED WARRANTIES OF MERCHANTABILITY, FITNESS FOR A
  * PARTICULAR PURPOSE AND NON-INFRINGEMENT OF THIRD PARTY INTELLECTUAL PROPERTY
  * RIGHTS ARE DISCLAIMED TO THE FULLEST EXTENT PERMITTED BY LAW. IN NO EVENT
  * SHALL STMICROELECTRONICS OR CONTRIBUTORS BE LIABLE FOR ANY DIRECT, INDIRECT,
  * INCIDENTAL, SPECIAL, EXEMPLARY, OR CONSEQUENTIAL DAMAGES (INCLUDING, BUT NOT
  * LIMITED TO, PROCUREMENT OF SUBSTITUTE GOODS OR SERVICES; LOSS OF USE, DATA,
  * OR PROFITS; OR BUSINESS INTERRUPTION) HOWEVER CAUSED AND ON ANY THEORY OF
  * LIABILITY, WHETHER IN CONTRACT, STRICT LIABILITY, OR TORT (INCLUDING
  * NEGLIGENCE OR OTHERWISE) ARISING IN ANY WAY OUT OF THE USE OF THIS SOFTWARE,
  * EVEN IF ADVISED OF THE POSSIBILITY OF SUCH DAMAGE.
  *
  ******************************************************************************
  */

#include "FreeRTOS.h"
#include "task.h"
#include "cmsis_os.h"

/* USER CODE BEGIN Includes */
#include "stm32f4xx_nucleo_144.h"
#include "GUI.h"
#include "adc.h"
#include "crc.h"
#include "dma.h"
#include "spi.h"
#include "tim.h"
#include "gpio.h"
#include "FRAMEWIN.h"
#include "DIALOG.h"
/* USER CODE END Includes */

osThreadId defaultTaskHandle;
osThreadId myTask02Handle;
osThreadId myTask03Handle;
osThreadId myTask04Handle;
osMessageQId myQueue01Handle;

/* USER CODE BEGIN Variables */
extern uint32_t value;
extern ADC_HandleTypeDef hadc1;
extern ADC_HandleTypeDef hadc3;

/* USER CODE END Variables */

void StartDefaultTask(void const * argument);
void StartTask02(void const * argument);
void StartTask03(void const * argument);
void StartTask04(void const * argument);

void MX_FREERTOS_Init(void); /* (MISRA C 2004 rule 8.1) */

/* Hook prototypes */

/* Init FreeRTOS */

void MX_FREERTOS_Init(void) {

  /* Create the thread(s) */
  /* definition and creation of defaultTask */
  osThreadDef(defaultTask, StartDefaultTask, osPriorityAboveNormal, 0, configMINIMAL_STACK_SIZE);
  defaultTaskHandle = osThreadCreate(osThread(defaultTask), NULL);

  /* definition and creation of myTask02 */
  osThreadDef(myTask02, StartTask02, osPriorityNormal, 0, configMINIMAL_STACK_SIZE);
  myTask02Handle = osThreadCreate(osThread(myTask02), NULL);

  /* definition and creation of myTask03 */
  osThreadDef(myTask03, StartTask03, osPriorityBelowNormal, 0, 512);
  myTask03Handle = osThreadCreate(osThread(myTask03), NULL);

  /* definition and creation of myTask03 */
  osThreadDef(myTask04, StartTask04, osPriorityLow, 0, configMINIMAL_STACK_SIZE);
  myTask04Handle = osThreadCreate(osThread(myTask04), NULL);

  /* Create the queue(s) */
  /* definition and creation of myQueue01 */
  osMessageQDef(myQueue01, 16, uint16_t);
  myQueue01Handle = osMessageCreate(osMessageQ(myQueue01), 0);

}

/* StartDefaultTask function */
void StartDefaultTask(void const * argument)
{
	/* USER CODE BEGIN StartDefaultTask */
	osEvent event;

	/* Infinite loop */
	for(;;)
	{
		/* ADC conversion started with DMA transfer */
//		HAL_ADC_Start_DMA(&hadc1, &value, 1);
//		BSP_LED_Toggle(LED1);
//		osDelay(100);

		event = osSignalWait(0, osWaitForever);
		if (event.value.signals & 1)
		{
			/* ADC conversion started with DMA transfer */
			HAL_ADC_Start_DMA(&hadc1, &value, 1);
			BSP_LED_Toggle(LED1);
		}
	}
	/* USER CODE END StartDefaultTask */
}

/* StartTask02 function */
void StartTask02(void const * argument)
{
	/* USER CODE BEGIN StartTask02 */

//	  FRAMEWIN_Handle hFrameWin;
//	  WM_HWIN         hChildWin;
//
//	  //
//	  // Create frame window
//	  //
//	  hFrameWin = FRAMEWIN_Create("Task 1", NULL, WM_CF_SHOW | WM_CF_STAYONTOP,
//	                              20, 170, 200, 50);
//	  //
//	  // Create child window
//	  //
//	  hChildWin = WM_CreateWindowAsChild(0, 0, 0, 0, WM_GetClientWindow(hFrameWin),
//	                                     WM_CF_SHOW , 0, 0);
//	  FRAMEWIN_SetActive(hFrameWin, 0);
//
//	  for(;;)
//	  {
//		  int i;
//		  int nx = 8;
//		  int ny = 9;
//		  //
//		  // Move window continously
//		  //
//		  for (i = 0; i < ny; i++) {
//			  WM_MoveWindow(hFrameWin, 0, -2);
//		      HAL_Delay(1);
//		  }
//		  for (i = 0; i < nx; i++) {
//			  WM_MoveWindow(hFrameWin, 2, 0);
//		      HAL_Delay(1);
//		  }
//		  for (i = 0; i < ny; i++) {
//		      WM_MoveWindow(hFrameWin, 0, 2);
//		      HAL_Delay(1);
//		    }
//		  for (i = 0; i < nx; i++) {
//		      WM_MoveWindow(hFrameWin, -2, 0);
//		      HAL_Delay(1);
//		  }
//
//		  BSP_LED_Toggle(LED2);
//		  osDelay(50);
// 	  }
//
	uint32_t tick = osKernelSysTick();

	/* Infinite loop */
    for(;;)
    {
    	BSP_LED_Toggle(LED2);
		osDelayUntil(&tick, 50);
    }
/* USER CODE END StartTask02 */
}

/* StartTask03 function */
void StartTask03(void const * argument)
{
	/* USER CODE BEGIN StartTask03 */
	uint32_t counter = 0;

#ifdef DEBUG_WIN
	extern WM_HWIN CreateProjeto_1();
	extern WM_HWIN hTimeStr;
	extern WM_HWIN hAdcStr;
	extern WM_HWIN hTempStr;
	extern WM_HWIN hGraph;

	GUI_SetBkColor(GUI_WHITE);
	GUI_SetColor(GUI_RED);
	CreateProjeto_1();
#endif

#ifdef DEBUG_TOUCH
	#define NUM_CALIB_POINTS  5  // Number of points for reference
    static int _aRefX[NUM_CALIB_POINTS];
    static int _aRefY[NUM_CALIB_POINTS];
    GUI_PID_STATE TouchState;
    int	xPhys, xSize;
    int	yPhys, ySize;
    int	i;

    GUI_CURSOR_Show();
    GUI_CURSOR_Select(&GUI_CursorCrossL);
    GUI_SetBkColor(GUI_WHITE);
    GUI_SetColor(GUI_BLUE);
    GUI_SetPenSize(1);
    GUI_Clear();

    xSize = LCD_GetXSize();
    ySize = LCD_GetYSize();

    //
    // Calculate reference points depending on LCD size
    //
    _aRefX[0] = (xSize * 5) / 100;
    _aRefY[0] = (ySize * 5) / 100;
    _aRefX[1] = xSize - (xSize * 5) / 100;
    _aRefY[1] = _aRefY[0];
    _aRefX[2] = _aRefX[1];
    _aRefY[2] = ySize - (ySize * 5) / 100;
    _aRefX[3] = _aRefX[0];
    _aRefY[3] = _aRefY[2];
    _aRefX[4] = xSize / 2;
    _aRefY[4] = ySize / 2;
    //
    // Draw reference points on LCD
    //
    for (i = 0; i < NUM_CALIB_POINTS; i++)
    {
      GUI_DrawCircle(_aRefX[i], _aRefY[i], 5);
    }
#endif

	/* Infinite loop */
	for(;;)
	{
#ifdef DEBUG_WIN
		char str[15];

//		GUI_DispDecAt(value, 15, 15, 4);
//		GUI_DispStringAt("0000", 60, 10);

		sprintf(str, "%04d", (int)value);
		TEXT_SetText(hAdcStr, str);
		TEXT_SetText(hTempStr, "25ºC");

		TEXT_SetText(hTimeStr, "00:00:00.0");
#endif

#ifdef DEBUG_TOUCH
		GUI_TOUCH_GetState(&TouchState);  // Get the touch position in pixel
		xPhys = GUI_TOUCH_GetxPhys();     // Get the A/D mesurement result in x
		yPhys = GUI_TOUCH_GetyPhys();     // Get the A/D mesurement result in y
		//
		// Display the measurement result
		//
		GUI_SetColor(GUI_BLUE);
		GUI_DispStringAt("Analog input:\n", 0, 40);
		GUI_GotoY(GUI_GetDispPosY() + 2);
		GUI_DispString("x:");
		GUI_DispDec(xPhys, 4);
		GUI_DispString(", y:");
		GUI_DispDec(yPhys, 4);
		//
		// Display the according position
		//
		GUI_SetColor(GUI_RED);
		GUI_GotoY(GUI_GetDispPosY() + 4);
		GUI_DispString("\nPosition:\n");
		GUI_GotoY(GUI_GetDispPosY() + 2);
		GUI_DispString("x:");
		GUI_DispDec(TouchState.x,4);
		GUI_DispString(", y:");
		GUI_DispDec(TouchState.y,4);

		/* Draw pixel path */
		GUI_SetColor(GUI_BLACK);
		//GUI_DrawPixel(TouchState.x, TouchState.y);
		//GUI_DrawPoint(TouchState.x, TouchState.y);
		GUI_DrawLineTo(TouchState.x, TouchState.y);
		//GUI_DrawLineRel(TouchState.x, TouchState.y);
#endif

		/* Updates GUI */
		GUI_TOUCH_Exec();
		GUI_Delay(10);
	}
	/* USER CODE END StartTask03 */
}

/* USER CODE BEGIN Application */

/* StartTask04 function */
void StartTask04(void const * argument)
{
    for(;;)
    {
		BSP_LED_Toggle(LED3);
		osDelay(30);
    }
}

/* USER CODE END Application */

/************************ (C) COPYRIGHT STMicroelectronics *****END OF FILE****/
